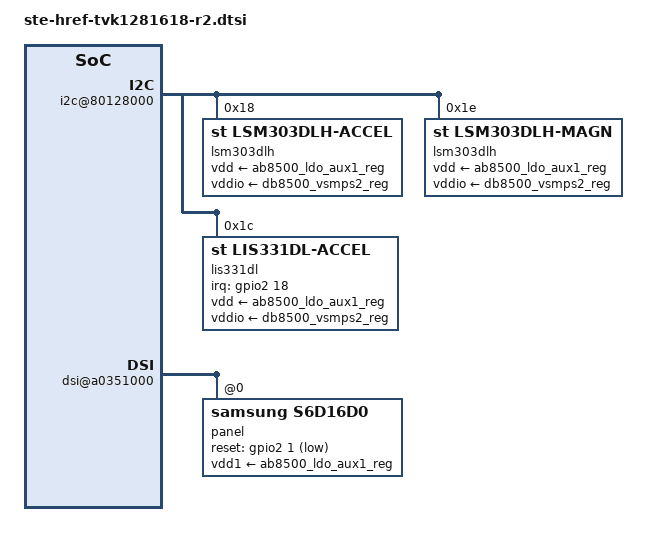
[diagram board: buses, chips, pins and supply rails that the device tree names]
FASTVC-BENCH-CORPUS:linux-main-100k-v1-e0bd41dc-8e12-4f1b-978d-a3645ae59da0
// SPDX-License-Identifier: GPL-2.0-or-later
/*
 * Device Tree for the TVK1281618 R2 UIB
 */

#include "ste-href-tvk1281618.dtsi"

/ {
	soc {
		i2c@80128000 {
			lsm303dlh@18 {
				/* Accelerometer */
				compatible = "st,lsm303dlh-accel";
				st,drdy-int-pin = <1>;
				drive-open-drain;
				reg = <0x18>;
				vdd-supply = <&ab8500_ldo_aux1_reg>;
				vddio-supply = <&db8500_vsmps2_reg>;
				pinctrl-names = "default";
				pinctrl-0 = <&accel_tvk_mode>;
				/*
				 * These interrupts cannot be used: the other component
				 * ST-Micro L3D4200D gyro that is connected to the same lines
				 * cannot set its DRDY line to open drain, so it cannot be
				 * shared with other peripherals. The should be defined for
				 * the falling edge if they could be wired together.
				 *
				 * interrupts-extended =
				 * <&gpio1 0 IRQ_TYPE_EDGE_FALLING>,
				 * <&gpio2 19 IRQ_TYPE_EDGE_FALLING>;
				 */
			};
			lsm303dlh@1e {
				/* Magnetometer */
				compatible = "st,lsm303dlh-magn";
				reg = <0x1e>;
				vdd-supply = <&ab8500_ldo_aux1_reg>;
				vddio-supply = <&db8500_vsmps2_reg>;
				/*
				 * These interrupts cannot be used: the other component
				 * ST-Micro L3D4200D gyro that is connected to the same lines
				 * cannot set its DRDY line to open drain, so it cannot be
				 * shared with other peripherals. The should be defined for
				 * the falling edge if they could be wired together.
				 *
				 * interrupts-extended =
				 * <&gpio1 0 IRQ_TYPE_EDGE_FALLING>,
				 * <&gpio2 19 IRQ_TYPE_EDGE_FALLING>;
				 */
			};
			lis331dl@1c {
				/* Accelerometer */
				compatible = "st,lis331dl-accel";
				st,drdy-int-pin = <1>;
				reg = <0x1c>;
				vdd-supply = <&ab8500_ldo_aux1_reg>;
				vddio-supply = <&db8500_vsmps2_reg>;
				pinctrl-names = "default";
				pinctrl-0 = <&accel_tvk_mode>;
				interrupt-parent = <&gpio2>;
				/* INT2 would need to be open drain */
				interrupts = <18 IRQ_TYPE_EDGE_RISING>,
					     <19 IRQ_TYPE_EDGE_RISING>;
			};
		};
		mcde@a0350000 {
			status = "okay";

			dsi@a0351000 {
				panel {
					compatible = "samsung,s6d16d0";
					reg = <0>;
					vdd1-supply = <&ab8500_ldo_aux1_reg>;
					reset-gpios = <&gpio2 1 GPIO_ACTIVE_LOW>;
				};
			};
		};
	};
/* bench 21723.2.0 ce7aa58cbebb */
/* bench 21723.2.1 896daa6e94e2 */
/* bench 21723.2.2 a27357120f56 */
/* bench 21723.2.3 ec81f228f1fe */
/* bench 21723.2.4 38de6af42a8e */
/* bench 21723.2.5 b5e2dbfc9595 */
/* bench 21723.2.6 89f51b54d0e4 */
/* bench 21723.2.7 9fb0ffbe0aec */
/* bench 21723.2.8 cb4f1a90f3b8 */
/* bench 21723.2.9 6ce9087e669a */
/* bench 21723.2.10 5fd083ffc77a */
/* bench 21723.2.11 bbaee520e66b */
};
